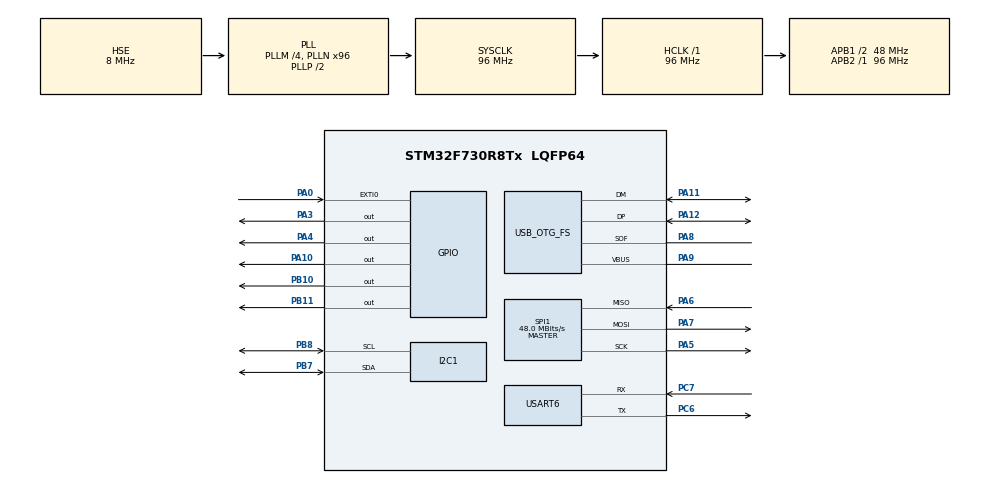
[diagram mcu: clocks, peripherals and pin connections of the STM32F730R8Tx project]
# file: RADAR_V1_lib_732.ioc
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CORTEX_M7.default_mode_Activation=1
FREERTOS.BinarySemaphores01=semManager,Dynamic,NULL;semProcessor,Dynamic,NULL
FREERTOS.Tasks01=dataManager,24,1024,dataManagerTask,Default,NULL,Dynamic,NULL,NULL;dataProcessor,8,1024,dataProcessorTask,Default,NULL,Dynamic,NULL,NULL
FREERTOS.configENABLE_FPU=1
FREERTOS.configUSE_NEWLIB_REENTRANT=1
I2C1.Timing=0x20303E5D
Mcu.Family=STM32F7
Mcu.Name=STM32F730R8Tx
Mcu.Package=LQFP64
NVIC.EXTI0_IRQn=true\:6\:0\:true\:false\:true\:true\:true\:true\:true
NVIC.FLASH_IRQn=true\:5\:0\:false\:false\:true\:true\:true\:true\:true
NVIC.FPU_IRQn=true\:5\:0\:false\:false\:true\:true\:true\:false\:true
NVIC.OTG_FS_IRQn=true\:5\:0\:false\:false\:true\:true\:false\:true\:true
NVIC.PriorityGroup=NVIC_PRIORITYGROUP_4
NVIC.RCC_IRQn=true\:5\:0\:false\:false\:true\:true\:true\:false\:true
NVIC.TIM1_UP_TIM10_IRQn=true\:15\:0\:false\:false\:true\:false\:false\:true\:true
NVIC.TimeBase=TIM1_UP_TIM10_IRQn
NVIC.TimeBaseIP=TIM1
PA0-WKUP.GPIO_PuPd=GPIO_PULLUP
PA0-WKUP.Signal=GPXTI0
PA10.GPIO_PuPd=GPIO_NOPULL
PA10.Signal=GPIO_Output
PA11.Mode=Device_Only
PA11.Signal=USB_OTG_FS_DM
PA12.Mode=Device_Only
PA12.Signal=USB_OTG_FS_DP
PA13.Mode=Serial_Wire
PA13.Signal=SYS_JTMS-SWDIO
PA14.Mode=Serial_Wire
PA14.Signal=SYS_JTCK-SWCLK
PA3.PinState=GPIO_PIN_SET
PA3.Signal=GPIO_Output
PA4.PinState=GPIO_PIN_SET
PA4.Signal=GPIO_Output
PA5.Mode=Full_Duplex_Master
PA5.Signal=SPI1_SCK
PA6.Mode=Full_Duplex_Master
PA6.Signal=SPI1_MISO
PA7.Mode=Full_Duplex_Master
PA7.Signal=SPI1_MOSI
PA8.Mode=Activate_SOF_FS
PA8.Signal=USB_OTG_FS_SOF
PA9.Mode=Activate_VBUS
PA9.Signal=USB_OTG_FS_VBUS
PB10.Signal=GPIO_Output
PB11.Signal=GPIO_Output
PB7.Mode=I2C
PB7.Signal=I2C1_SDA
PB8.Mode=I2C
PB8.Signal=I2C1_SCL
PC14-OSC32_IN.Mode=LSE-External-Oscillator
PC14-OSC32_IN.Signal=RCC_OSC32_IN
PC15-OSC32_OUT.Mode=LSE-External-Oscillator
PC15-OSC32_OUT.Signal=RCC_OSC32_OUT
PC6.Mode=Asynchronous
PC6.Signal=USART6_TX
PC7.Mode=Asynchronous
PC7.Signal=USART6_RX
PH0-OSC_IN.Mode=HSE-External-Oscillator
PH0-OSC_IN.Signal=RCC_OSC_IN
PH1-OSC_OUT.Mode=HSE-External-Oscillator
PH1-OSC_OUT.Signal=RCC_OSC_OUT
ProjectManager.HeapSize=0x2000
ProjectManager.StackSize=0x6000
ProjectManager.TargetToolchain=STM32CubeIDE
RCC.AHBFreq_Value=96000000
RCC.APB1CLKDivider=RCC_HCLK_DIV2
RCC.APB1Freq_Value=48000000
RCC.APB1TimFreq_Value=96000000
RCC.APB2Freq_Value=96000000
RCC.APB2TimFreq_Value=96000000
RCC.CortexFreq_Value=96000000
RCC.HCLKFreq_Value=96000000
RCC.HSE_VALUE=8000000
RCC.HSI_VALUE=16000000
RCC.PLLM=4
RCC.PLLN=96
RCC.PLLQ=4
RCC.SYSCLKFreq_VALUE=96000000
RCC.SYSCLKSource=RCC_SYSCLKSOURCE_PLLCLK
RCC.USBFreq_Value=48000000
RCC.VCOOutputFreq_Value=192000000
SPI1.BaudRatePrescaler=SPI_BAUDRATEPRESCALER_2
SPI1.CalculateBaudRate=48.0 MBits/s
SPI1.DataSize=SPI_DATASIZE_8BIT
SPI1.Direction=SPI_DIRECTION_2LINES
SPI1.Mode=SPI_MODE_MASTER
SPI1.NSSPMode=SPI_NSS_PULSE_ENABLE
SPI1.VirtualType=VM_MASTER
USART6.VirtualMode=VM_ASYNC
USB_DEVICE.CLASS_NAME_FS=CDC
USB_DEVICE.VirtualMode-CDC_FS=Cdc
USB_DEVICE.VirtualModeFS=Cdc_FS
USB_OTG_FS.VirtualMode=Device_Only
VP_FREERTOS_VS_CMSIS_V2.Mode=CMSIS_V2
VP_RTC_VS_RTC_Activate.Mode=RTC_Enabled
VP_SYS_VS_tim1.Mode=TIM1
VP_USB_DEVICE_VS_USB_DEVICE_CDC_FS.Mode=CDC_FS
board=custom

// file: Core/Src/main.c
/* USER CODE BEGIN Header */
/**
 ******************************************************************************
 * @file           : main.c
 * @brief          : Main program body
 ******************************************************************************
 * @attention
 *
 * Copyright (c) 2023 STMicroelectronics.
 * All rights reserved.
 *
 * This software is licensed under terms that can be found in the LICENSE file
 * in the root directory of this software component.
 * If no LICENSE file comes with this software, it is provided AS-IS.
 *
 ******************************************************************************
 */
/* USER CODE END Header */
#include "main.h"
#include "cmsis_os.h"
#include "usb_device.h"

/* USER CODE BEGIN Includes */
#include "xensiv_radar_presence.h"

#include "xensiv_bgt60trxx_stm.h"
#include "xensiv_radar_presence.h"
#include "radar_config_optimizer.h"

#include "radar_config.h"
#define XENSIV_RADAR_PRESENCE_SETTINGS_H_IMPL
#include "presence_settings.h"

#include "optimization_list.h"

#include "user.h"
#include "arm_math.h"

#include "stdlib.h"
#include "usbd_cdc_if.h"
/* USER CODE END Includes */

/* USER CODE BEGIN PTD */
typedef struct {
    xensiv_radar_presence_event_t last_reported_event;
    bool verbose;
    XENSIV_RADAR_PRESENCE_TIMESTAMP bookmark_timestamp;
}ce_state_s;
/* USER CODE END PTD */

/* USER CODE BEGIN PD */

#define PRINT_DATA

/* USER CODE END PD */

/* USER CODE BEGIN PM */
#define ANSI_COLOR_RED     "\x1b[31m"
#define ANSI_COLOR_GREEN   "\x1b[32m"
#define ANSI_COLOR_YELLOW  "\x1b[33m"
#define ANSI_COLOR_BLUE    "\x1b[34m"
#define ANSI_COLOR_MAGENTA "\x1b[35m"
#define ANSI_COLOR_CYAN    "\x1b[36m"
#define ANSI_COLOR_RESET   "\x1b[0m"
#define PRINT_INFO(X) printf( X  "\r\n")
#define PRINT_NOTIFY(X) printf(ANSI_COLOR_GREEN X ANSI_COLOR_RESET "\r\n")
#define PRINT_ERR(X) printf(ANSI_COLOR_RED X ANSI_COLOR_RESET "\r\n")
/* USER CODE END PM */

I2C_HandleTypeDef hi2c1;

RTC_HandleTypeDef hrtc;

SPI_HandleTypeDef hspi1;

UART_HandleTypeDef huart6;

/* Definitions for dataManager */
osThreadId_t dataManagerHandle;
const osThreadAttr_t dataManager_attributes = {
  .name = "dataManager",
  .stack_size = 1024 * 4,
  .priority = (osPriority_t) osPriorityNormal,
};
/* Definitions for dataProcessor */
osThreadId_t dataProcessorHandle;
const osThreadAttr_t dataProcessor_attributes = {
  .name = "dataProcessor",
  .stack_size = 1024 * 4,
  .priority = (osPriority_t) osPriorityLow,
};
/* Definitions for semManager */
osSemaphoreId_t semManagerHandle;
const osSemaphoreAttr_t semManager_attributes = {
  .name = "semManager"
};
/* Definitions for semProcessor */
osSemaphoreId_t semProcessorHandle;
const osSemaphoreAttr_t semProcessor_attributes = {
  .name = "semProcessor"
};
/* USER CODE BEGIN PV */

xensiv_radar_presence_handle_t handle;
ce_state_s ce_app_state;
static float32_t frame[NUM_SAMPLES_PER_FRAME * 2];
static float32_t avg_chirp[NUM_SAMPLES_PER_CHIRP];

/* USER CODE END PV */

void SystemClock_Config(void);
static void MPU_Config(void);
static void MX_GPIO_Init(void);
static void MX_SPI1_Init(void);
static void MX_I2C1_Init(void);
static void MX_USART6_UART_Init(void);
static void MX_RTC_Init(void);
void dataManagerTask(void *argument);
void dataProcessorTask(void *argument);

/* USER CODE BEGIN PFP */
void reconf_radar(optimization_type_e requested);
void process_verbose_cmd(xensiv_radar_presence_handle_t handle, XENSIV_RADAR_PRESENCE_TIMESTAMP time_ms);
void presence_detection_cb(xensiv_radar_presence_handle_t handle, const xensiv_radar_presence_event_t* event, void *data);

size_t memory_usage = 0;
uint8_t data_buff[NUM_SAMPLES_PER_FRAME * 3];
uint16_t buff16[NUM_SAMPLES_PER_FRAME*2] = {0,};
uint32_t buff32[NUM_SAMPLES_PER_FRAME] = {0,};

void* custom_malloc(size_t size)
{
  memory_usage = memory_usage + size;
	printf("\r\nmemory in use: %x\r\n", memory_usage);
  return malloc(size);
}
void custom_free(void* ptr)
{
	printf("custom free");
  free(ptr);
}

/* USER CODE END PFP */

/* USER CODE BEGIN 0 */

uint32_t getTick() {
  return xTaskGetTickCount();
}

int _write(int file, char* p, int len){
  CDC_Transmit_FS(p, len);
	return len;
}

void sendPacket(uint8_t detect, uint8_t distance)
{
  uint8_t packet[10];
  uint8_t chksum = 0;

  packet[0] = 0x55;
  packet[1] = 0xaa;
  packet[2] = 8;
  packet[3] = detect;
  packet[4] = 60+(getTick() % 10);
  packet[5] = 20+(getTick() % 10);
  packet[6] = distance;
  packet[7] = 0;
  packet[8] = 0;
  for (int i = 0; i < 9; i++)
    chksum ^= packet[i];
  packet[9] = chksum;
  HAL_UART_Transmit(&huart1, packet, 10, 10);
}

struct xensiv_bgt60trxx_type sensor_type = {
  .device = XENSIV_DEVICE_BGT60TR13C,
  .fifo_size = 8192U,
  .fifo_addr = 0x60U
};

xensiv_bgt60trxx_mtb_iface_t sensor_interface = {
  .irqpin = {
    .gpio = GPIOA,
    .pin = 1 << 0
  },
  .rstpin = {
    .gpio = GPIOA,
    .pin = 1 << 3
  },
  .selpin = {
    .gpio = GPIOA,
    .pin = 1 << 4
  },
  .spi = &hspi1
};

xensiv_bgt60trxx_mtb_t sensor_instance = {
  .dev = {
    .high_speed = true,
    .type = &sensor_type,
    .iface = (void*)&sensor_interface
  },
  .iface = {
		  .irqpin = {
		    .gpio = GPIOA,
		    .pin = 1 << 0
		  },
		  .rstpin = {
		    .gpio = GPIOA,
		    .pin = 1 << 3
		  },
		  .selpin = {
		    .gpio = GPIOA,
		    .pin = 1 << 4
		  },
		  .spi = &hspi1
  }
};

void initializations(void)
{
  // sensor init
	stm_result_t res = xensiv_bgt60trxx_mtb_init2(&sensor_instance, NUM_SAMPLES_PER_FRAME * 2, register_list, XENSIV_BGT60TRXX_CONF_NUM_REGS);
	printf("bgt init result: %x\n", res);

	/* Initialize the initial state of ce_app_state */
	ce_app_state.last_reported_event.state = XENSIV_RADAR_PRESENCE_STATE_ABSENCE;
	ce_app_state.last_reported_event.range_bin = 0;
	ce_app_state.last_reported_event.timestamp = 0;
  // ce_app_state.verbose = true;

  // main init

  xensiv_radar_presence_set_malloc_free(custom_malloc, custom_free);

  if (xensiv_radar_presence_alloc(&handle, &default_config) != 0)
  {
      CY_ASSERT(0);
  }

  xensiv_radar_presence_set_callback(handle, presence_detection_cb, NULL);
  int result = radar_config_optimizer_init(reconf_radar);

  if(result != ESTATUS_SUCCESS)
  {
      printf("[MSG] ERROR: radar_config_optimizer_init failed with error %" PRIi32 "\n", result);
      CY_ASSERT(0);
  }

  result = radar_config_optimizer_set_operational_mode(default_config.mode);

  if(result != ESTATUS_SUCCESS)
  {
      printf("[MSG] ERROR: radar_config_optimizer_set_operational_mode failed with error %" PRIi32 "\n", result);
      CY_ASSERT(0);
  }

  xensiv_bgt60trxx_set_fifo_limit(&sensor_instance.dev, NUM_SAMPLES_PER_FRAME);
	if (xensiv_bgt60trxx_start_frame(&sensor_instance.dev, true) != XENSIV_BGT60TRXX_STATUS_OK)
	{
    printf("start frame fail\r\n");
		CY_ASSERT(0);
	}
}

/* USER CODE END 0 */

int main(void)
{

  /* MPU Configuration--------------------------------------------------------*/
  MPU_Config();

  /* MCU Configuration--------------------------------------------------------*/

  /* Reset of all peripherals, Initializes the Flash interface and the Systick. */
  HAL_Init();

  /* Configure the system clock */
  SystemClock_Config();

  /* Initialize all configured peripherals */
  MX_GPIO_Init();
  MX_SPI1_Init();
  MX_I2C1_Init();
  MX_USART6_UART_Init();
  MX_RTC_Init();
  /* USER CODE BEGIN 2 */

  LED1_ON();
  LED2_ON();

  initializations();
  /* USER CODE END 2 */

  /* Init scheduler */
  osKernelInitialize();

  /* Create the semaphores(s) */
  /* creation of semManager */
  semManagerHandle = osSemaphoreNew(1, 0, &semManager_attributes);

  /* creation of semProcessor */
  semProcessorHandle = osSemaphoreNew(1, 0, &semProcessor_attributes);

  /* Create the thread(s) */
  /* creation of dataManager */
  dataManagerHandle = osThreadNew(dataManagerTask, NULL, &dataManager_attributes);

  /* creation of dataProcessor */
  dataProcessorHandle = osThreadNew(dataProcessorTask, NULL, &dataProcessor_attributes);

  /* Start scheduler */
  osKernelStart();

  /* We should never get here as control is now taken by the scheduler */
  /* Infinite loop */
	while (1){

	}
}

void SystemClock_Config(void)
{
  RCC_OscInitTypeDef RCC_OscInitStruct = {0};
  RCC_ClkInitTypeDef RCC_ClkInitStruct = {0};

  /** Configure LSE Drive Capability
  */
  HAL_PWR_EnableBkUpAccess();

  /** Configure the main internal regulator output voltage
  */
  __HAL_RCC_PWR_CLK_ENABLE();
  __HAL_PWR_VOLTAGESCALING_CONFIG(PWR_REGULATOR_VOLTAGE_SCALE3);

  /** Initializes the RCC Oscillators according to the specified parameters
  * in the RCC_OscInitTypeDef structure.
  */
  RCC_OscInitStruct.OscillatorType = RCC_OSCILLATORTYPE_LSI|RCC_OSCILLATORTYPE_HSE;
  RCC_OscInitStruct.HSEState = RCC_HSE_ON;
  RCC_OscInitStruct.LSIState = RCC_LSI_ON;
  RCC_OscInitStruct.PLL.PLLState = RCC_PLL_ON;
  RCC_OscInitStruct.PLL.PLLSource = RCC_PLLSOURCE_HSE;
  RCC_OscInitStruct.PLL.PLLM = 4;
  RCC_OscInitStruct.PLL.PLLN = 96;
  RCC_OscInitStruct.PLL.PLLP = RCC_PLLP_DIV2;
  RCC_OscInitStruct.PLL.PLLQ = 4;
  if (HAL_RCC_OscConfig(&RCC_OscInitStruct) != HAL_OK)
  {
    Error_Handler();
  }

  /** Activate the Over-Drive mode
  */
  if (HAL_PWREx_EnableOverDrive() != HAL_OK)
  {
    Error_Handler();
  }

  /** Initializes the CPU, AHB and APB buses clocks
  */
  RCC_ClkInitStruct.ClockType = RCC_CLOCKTYPE_HCLK|RCC_CLOCKTYPE_SYSCLK
                              |RCC_CLOCKTYPE_PCLK1|RCC_CLOCKTYPE_PCLK2;
  RCC_ClkInitStruct.SYSCLKSource = RCC_SYSCLKSOURCE_PLLCLK;
  RCC_ClkInitStruct.AHBCLKDivider = RCC_SYSCLK_DIV1;
  RCC_ClkInitStruct.APB1CLKDivider = RCC_HCLK_DIV2;
  RCC_ClkInitStruct.APB2CLKDivider = RCC_HCLK_DIV1;

  if (HAL_RCC_ClockConfig(&RCC_ClkInitStruct, FLASH_LATENCY_3) != HAL_OK)
  {
    Error_Handler();
  }
}

static void MX_I2C1_Init(void)
{

  hi2c1.Instance = I2C1;
  hi2c1.Init.Timing = 0x20303E5D;
  hi2c1.Init.OwnAddress1 = 0;
  hi2c1.Init.AddressingMode = I2C_ADDRESSINGMODE_7BIT;
  hi2c1.Init.DualAddressMode = I2C_DUALADDRESS_DISABLE;
  hi2c1.Init.OwnAddress2 = 0;
  hi2c1.Init.OwnAddress2Masks = I2C_OA2_NOMASK;
  hi2c1.Init.GeneralCallMode = I2C_GENERALCALL_DISABLE;
  hi2c1.Init.NoStretchMode = I2C_NOSTRETCH_DISABLE;
  if (HAL_I2C_Init(&hi2c1) != HAL_OK)
  {
    Error_Handler();
  }

  /** Configure Analogue filter
  */
  if (HAL_I2CEx_ConfigAnalogFilter(&hi2c1, I2C_ANALOGFILTER_ENABLE) != HAL_OK)
  {
    Error_Handler();
  }

  /** Configure Digital filter
  */
  if (HAL_I2CEx_ConfigDigitalFilter(&hi2c1, 0) != HAL_OK)
  {
    Error_Handler();
  }

}

static void MX_RTC_Init(void)
{

  /** Initialize RTC Only
  */
  hrtc.Instance = RTC;
  hrtc.Init.HourFormat = RTC_HOURFORMAT_24;
  hrtc.Init.AsynchPrediv = 127;
  hrtc.Init.SynchPrediv = 255;
  hrtc.Init.OutPut = RTC_OUTPUT_DISABLE;
  hrtc.Init.OutPutPolarity = RTC_OUTPUT_POLARITY_HIGH;
  hrtc.Init.OutPutType = RTC_OUTPUT_TYPE_OPENDRAIN;
  if (HAL_RTC_Init(&hrtc) != HAL_OK)
  {
    Error_Handler();
  }

}

static void MX_SPI1_Init(void)
{

  /* SPI1 parameter configuration*/
  hspi1.Instance = SPI1;
  hspi1.Init.Mode = SPI_MODE_MASTER;
  hspi1.Init.Direction = SPI_DIRECTION_2LINES;
  hspi1.Init.DataSize = SPI_DATASIZE_8BIT;
  hspi1.Init.CLKPolarity = SPI_POLARITY_LOW;
  hspi1.Init.CLKPhase = SPI_PHASE_1EDGE;
  hspi1.Init.NSS = SPI_NSS_SOFT;
  hspi1.Init.BaudRatePrescaler = SPI_BAUDRATEPRESCALER_2;
  hspi1.Init.FirstBit = SPI_FIRSTBIT_MSB;
  hspi1.Init.TIMode = SPI_TIMODE_DISABLE;
  hspi1.Init.CRCCalculation = SPI_CRCCALCULATION_DISABLE;
  hspi1.Init.CRCPolynomial = 7;
  hspi1.Init.CRCLength = SPI_CRC_LENGTH_DATASIZE;
  hspi1.Init.NSSPMode = SPI_NSS_PULSE_ENABLE;
  if (HAL_SPI_Init(&hspi1) != HAL_OK)
  {
    Error_Handler();
  }

}

static void MX_USART6_UART_Init(void)
{

  huart6.Instance = USART6;
  huart6.Init.BaudRate = 115200;
  huart6.Init.WordLength = UART_WORDLENGTH_8B;
  huart6.Init.StopBits = UART_STOPBITS_1;
  huart6.Init.Parity = UART_PARITY_NONE;
  huart6.Init.Mode = UART_MODE_TX_RX;
  huart6.Init.HwFlowCtl = UART_HWCONTROL_NONE;
  huart6.Init.OverSampling = UART_OVERSAMPLING_16;
  huart6.Init.OneBitSampling = UART_ONE_BIT_SAMPLE_DISABLE;
  huart6.AdvancedInit.AdvFeatureInit = UART_ADVFEATURE_NO_INIT;
  if (HAL_UART_Init(&huart6) != HAL_OK)
  {
    Error_Handler();
  }

}

static void MX_GPIO_Init(void)
{
  GPIO_InitTypeDef GPIO_InitStruct = {0};

  /* GPIO Ports Clock Enable */
  __HAL_RCC_GPIOC_CLK_ENABLE();
  __HAL_RCC_GPIOH_CLK_ENABLE();
  __HAL_RCC_GPIOA_CLK_ENABLE();
  __HAL_RCC_GPIOB_CLK_ENABLE();

  /*Configure GPIO pin Output Level */
  HAL_GPIO_WritePin(GPIOA, GPIO_PIN_3|GPIO_PIN_4, GPIO_PIN_SET);

  /*Configure GPIO pin Output Level */
  HAL_GPIO_WritePin(GPIOB, GPIO_PIN_10|GPIO_PIN_11, GPIO_PIN_RESET);

  /*Configure GPIO pin Output Level */
  HAL_GPIO_WritePin(GPIOA, GPIO_PIN_10, GPIO_PIN_RESET);

  /*Configure GPIO pin : PA0 */
  GPIO_InitStruct.Pin = GPIO_PIN_0;
  GPIO_InitStruct.Mode = GPIO_MODE_IT_RISING;
  GPIO_InitStruct.Pull = GPIO_PULLUP;
  HAL_GPIO_Init(GPIOA, &GPIO_InitStruct);

  /*Configure GPIO pins : PA3 PA4 PA10 */
  GPIO_InitStruct.Pin = GPIO_PIN_3|GPIO_PIN_4|GPIO_PIN_10;
  GPIO_InitStruct.Mode = GPIO_MODE_OUTPUT_PP;
  GPIO_InitStruct.Pull = GPIO_NOPULL;
  GPIO_InitStruct.Speed = GPIO_SPEED_FREQ_LOW;
  HAL_GPIO_Init(GPIOA, &GPIO_InitStruct);

  /*Configure GPIO pins : PB10 PB11 */
  GPIO_InitStruct.Pin = GPIO_PIN_10|GPIO_PIN_11;
  GPIO_InitStruct.Mode = GPIO_MODE_OUTPUT_PP;
  GPIO_InitStruct.Pull = GPIO_NOPULL;
  GPIO_InitStruct.Speed = GPIO_SPEED_FREQ_LOW;
  HAL_GPIO_Init(GPIOB, &GPIO_InitStruct);

  /* EXTI interrupt init*/
  HAL_NVIC_SetPriority(EXTI0_IRQn, 6, 0);
  HAL_NVIC_EnableIRQ(EXTI0_IRQn);

}

/* USER CODE BEGIN 4 */

/*******************************************************************************
 * Function Name: process_verbose_cmd
 ********************************************************************************
 * Summary:
 * This function processes the prints the desired output on CLI provided
 * user has set the "verbose enabled" through Cli task.
 *
 * Parameters:
 *  void
 *
 * Return:
 *  none
 *
 *******************************************************************************/
void process_verbose_cmd(xensiv_radar_presence_handle_t handle,
        XENSIV_RADAR_PRESENCE_TIMESTAMP time_ms)
{
    float32_t energy = 0;
    int range_bin = 0;

    if (ce_app_state.verbose == false)
    {
        return;
    }

    if (ce_app_state.bookmark_timestamp + 1000 <= time_ms)
    {

        switch (ce_app_state.last_reported_event.state)
        {
            case XENSIV_RADAR_PRESENCE_STATE_MACRO_PRESENCE:
                LED1_ON();
                LED2_OFF();
                printf("[INFO] macro presence %" PRIi32 " %" PRIi32 "\r\n",
                        ce_app_state.last_reported_event.range_bin,
                        time_ms);
                break;

            case XENSIV_RADAR_PRESENCE_STATE_MICRO_PRESENCE:
                LED1_OFF();
                LED2_ON();
                printf("[INFO] micro presence %" PRIi32 " %" PRIi32 "\r\n",
                        ce_app_state.last_reported_event.range_bin,
                        time_ms);
                break;

            case XENSIV_RADAR_PRESENCE_STATE_ABSENCE:
                LED1_OFF();
                LED2_OFF();
                printf("[INFO] absence %" PRIu32 "\r\n", time_ms);
                break;

            default:
                printf("[MSG] ERROR: Unknown reported state in event handling\r\n");
                break;
        }

        const cfloat32_t *macro_fft_buff = xensiv_radar_presence_get_macro_fft_buffer(handle);

        printf("[MACRO_FFT] %lu",(unsigned long)time_ms);

        for(int i = 0; i< MACRO_FFT_BUFF_SIZE; i++)
        {
            float zero[2] = { 0.f, 0.f};

//            printf("%lf ", arm_euclidean_distance_f32((float*)&macro_fft_buff[i], zero, 2));
        }

        printf("\r\n");

        xensiv_radar_presence_get_max_macro(handle, &energy, &range_bin);
        printf("[MACRO] %d %lf %lu\r\n", range_bin, energy, (unsigned long)time_ms);

        xensiv_radar_presence_get_max_micro(handle, &energy, &range_bin);
        printf("[MICRO] %d %lf %lu\r\n", range_bin, energy, (unsigned long) time_ms);

        ce_app_state.bookmark_timestamp = time_ms;

    }
}

void presence_detection_cb(xensiv_radar_presence_handle_t handle,
                           const xensiv_radar_presence_event_t* event,
                           void *data)
{
    (void)handle;
    (void)data;

    static bool exist = false;

    // printf("\r\n\r\npresence detection callback!\r\n\r\n");
    if (!ce_app_state.verbose)
    {
        switch (event->state)
        {
            case XENSIV_RADAR_PRESENCE_STATE_MACRO_PRESENCE:
                LED1_ON();
                LED2_OFF();
                printf("[INFO] macro presence %" PRIi32 " %" PRIi32 "\n" ,
                        event->range_bin,
                        event->timestamp);

                // sendPacket(1,(uint8_t)(10*xensiv_radar_presence_get_bin_length(handle))*event->range_bin);

                        if (exist == false){
                          PRINT_INFO("Person has entered");
                          exist = true;
                        }
                break;

            case XENSIV_RADAR_PRESENCE_STATE_MICRO_PRESENCE:
                LED1_OFF();
                LED2_ON();
                printf("[INFO] micro presence %" PRIi32 " %" PRIi32 "\n",
                        event->range_bin,
                        event->timestamp);

                // sendPacket(1,(uint8_t)(10*xensiv_radar_presence_get_bin_length(handle))*event->range_bin);

                        if (exist == false){
                          PRINT_INFO("Person has entered");
                          exist = true;
                        }
                break;

            case XENSIV_RADAR_PRESENCE_STATE_ABSENCE:
                printf("[INFO] absence %" PRIu32 "\n", event->timestamp);
                LED1_OFF();
                LED2_OFF();

                // sendPacket(0,0);

                if (exist == true){
                  PRINT_ERR("Person has left");
                  exist = false;
                }
                break;

            default:
                printf("[MSG] ERROR: Unknown reported state in event handling\n");
                break;
        }

    }
    // quePush(que_cmd_presence_detection);
    /* save the last reported event state */
    float ff = xensiv_radar_presence_get_bin_length(handle) * default_config.max_range_bin;
    printf("range: %f\r\n", ff);
    ce_app_state.last_reported_event = *event;
}

/*********************************************************//**********************
* Function Name: reconf_radar
**************************************************//******************************
* Summary:
* This is the function for radar reconfiguration
*
* Parameters:
*  requested: Choosed configuration
*
* Return:
*  void
*
*******************************************************************************/
void reconf_radar(optimization_type_e requested)
{
  // return;

  // printf("reconfig radar\r\n");
  // return;

    if (requested == CONFIG_UNINITIALIZED)
    {
        return;
    }

    if (xensiv_bgt60trxx_config(&sensor_instance.dev,
            optimizations_list[requested].reg_list,
            optimizations_list[requested].reg_list_size) != 0)
    {
        printf("[MSG] ERROR: xensiv_bgt60trxx reconfiguration failed\n");
        CY_ASSERT(0);
    }

    if (xensiv_bgt60trxx_set_fifo_limit(&sensor_instance.dev,
            optimizations_list[requested].fifo_limit) != 0)
    {
        printf("[MSG] ERROR: xensiv_bgt60trxx set fifo limit failed\n");
        CY_ASSERT(0);
    }

    if (xensiv_bgt60trxx_start_frame(&sensor_instance.dev, true) != 0)
    {
        printf("[MSG] ERROR: xensiv_bgt60trxx_start_frame failed\n");
        CY_ASSERT(0);
    }
}

void HAL_GPIO_EXTI_Callback(uint16_t pin)
{
  osSemaphoreRelease(semManagerHandle);
}
/* USER CODE END 4 */

void dataManagerTask(void *argument)
{
  /* init code for USB_DEVICE */
  MX_USB_DEVICE_Init();
  HAL_GPIO_WritePin(GPIOA, GPIO_PIN_10, GPIO_PIN_SET);
  /* USER CODE BEGIN 5 */
  /* Infinite loop */
  for(;;)
  {
   if (osSemaphoreAcquire(semManagerHandle, 0) == osOK) {
    if (xensiv_bgt60trxx_get_fifo_data(&sensor_instance.dev, (uint8_t*)data_buff, NUM_SAMPLES_PER_FRAME*3) != 0)
    {
      PRINT_ERR("FIFO READ FAILED");
      xensiv_bgt60trxx_soft_reset(&sensor_instance.dev, XENSIV_BGT60TRXX_RESET_FIFO);
      xensiv_bgt60trxx_start_frame(&sensor_instance.dev, true);
      continue;
    }

    xensiv_bgt60trxx_soft_reset(&sensor_instance.dev, XENSIV_BGT60TRXX_RESET_FIFO);
    xensiv_bgt60trxx_start_frame(&sensor_instance.dev, true);

    for (int i = 0; i < NUM_SAMPLES_PER_FRAME; i++) {
      buff32[i] = data_buff[i*3+0] << 16;
      buff32[i] |= data_buff[i*3+1] << 8;
      buff32[i] |= data_buff[i*3+2];

      buff16[i*2] = buff32[i]>>12;
      buff16[i*2+1] = buff32[i] & 0xfff;
    }

    #ifdef PRINT_DATA

    #endif
    osSemaphoreRelease(semProcessorHandle);

   }else{
    osDelay(1);
   }
  }
  /* USER CODE END 5 */
}

void dataProcessorTask(void *argument)
{
  /* USER CODE BEGIN dataProcessorTask */

  /* Infinite loop */
  for(;;)
  {
    if (osSemaphoreAcquire(semProcessorHandle, 0) == osOK) {

      uint16_t *bgt60_buffer_ptr = buff16;//data_buff;
      float32_t *frame_ptr = &frame[0];
      for (int32_t sample = 0; sample < NUM_SAMPLES_PER_FRAME * 2; ++sample)
      {
        *frame_ptr++ = ((float32_t)(*bgt60_buffer_ptr++) / 4096.0F);
      }

      /* calculate the average of the chirps first */
      arm_fill_f32(0, avg_chirp, NUM_SAMPLES_PER_CHIRP);

      for (int chirp = 0; chirp < NUM_CHIRPS_PER_FRAME * 2; chirp++)
      {
        arm_add_f32(avg_chirp, &frame[NUM_SAMPLES_PER_CHIRP * chirp], avg_chirp, NUM_SAMPLES_PER_CHIRP);
      }

      arm_scale_f32(avg_chirp, 1.0f / NUM_CHIRPS_PER_FRAME, avg_chirp, NUM_SAMPLES_PER_CHIRP);

#ifdef PRINT_DATA
      // better raise uart baudrate to make print work @55
      printf("$");
      for (int i = 0; i < NUM_SAMPLES_PER_CHIRP; i++) {
        printf("%.2f,", avg_chirp[i]);
      }
      printf("#");
      printf("\r\n");
#endif

      if (xensiv_radar_presence_process_frame(handle, avg_chirp, getTick()) != XENSIV_RADAR_PRESENCE_OK)
      {
        printf("process frame error \r\n");
      }

    } else {

      osDelay(1);
    }
  }
  /* USER CODE END dataProcessorTask */
}

/* MPU Configuration */

void MPU_Config(void)
{
  MPU_Region_InitTypeDef MPU_InitStruct = {0};

  /* Disables the MPU */
  HAL_MPU_Disable();

  /** Initializes and configures the Region and the memory to be protected
  */
  MPU_InitStruct.Enable = MPU_REGION_ENABLE;
  MPU_InitStruct.Number = MPU_REGION_NUMBER0;
  MPU_InitStruct.BaseAddress = 0x0;
  MPU_InitStruct.Size = MPU_REGION_SIZE_4GB;
  MPU_InitStruct.SubRegionDisable = 0x87;
  MPU_InitStruct.TypeExtField = MPU_TEX_LEVEL0;
  MPU_InitStruct.AccessPermission = MPU_REGION_NO_ACCESS;
  MPU_InitStruct.DisableExec = MPU_INSTRUCTION_ACCESS_DISABLE;
  MPU_InitStruct.IsShareable = MPU_ACCESS_SHAREABLE;
  MPU_InitStruct.IsCacheable = MPU_ACCESS_NOT_CACHEABLE;
  MPU_InitStruct.IsBufferable = MPU_ACCESS_NOT_BUFFERABLE;

  HAL_MPU_ConfigRegion(&MPU_InitStruct);
  /* Enables the MPU */
  HAL_MPU_Enable(MPU_PRIVILEGED_DEFAULT);

}

void HAL_TIM_PeriodElapsedCallback(TIM_HandleTypeDef *htim)
{
  if (htim->Instance == TIM1) {
    HAL_IncTick();
  }
}

void Error_Handler(void)
{
	__disable_irq();
	while (1)
	{
	}
}
